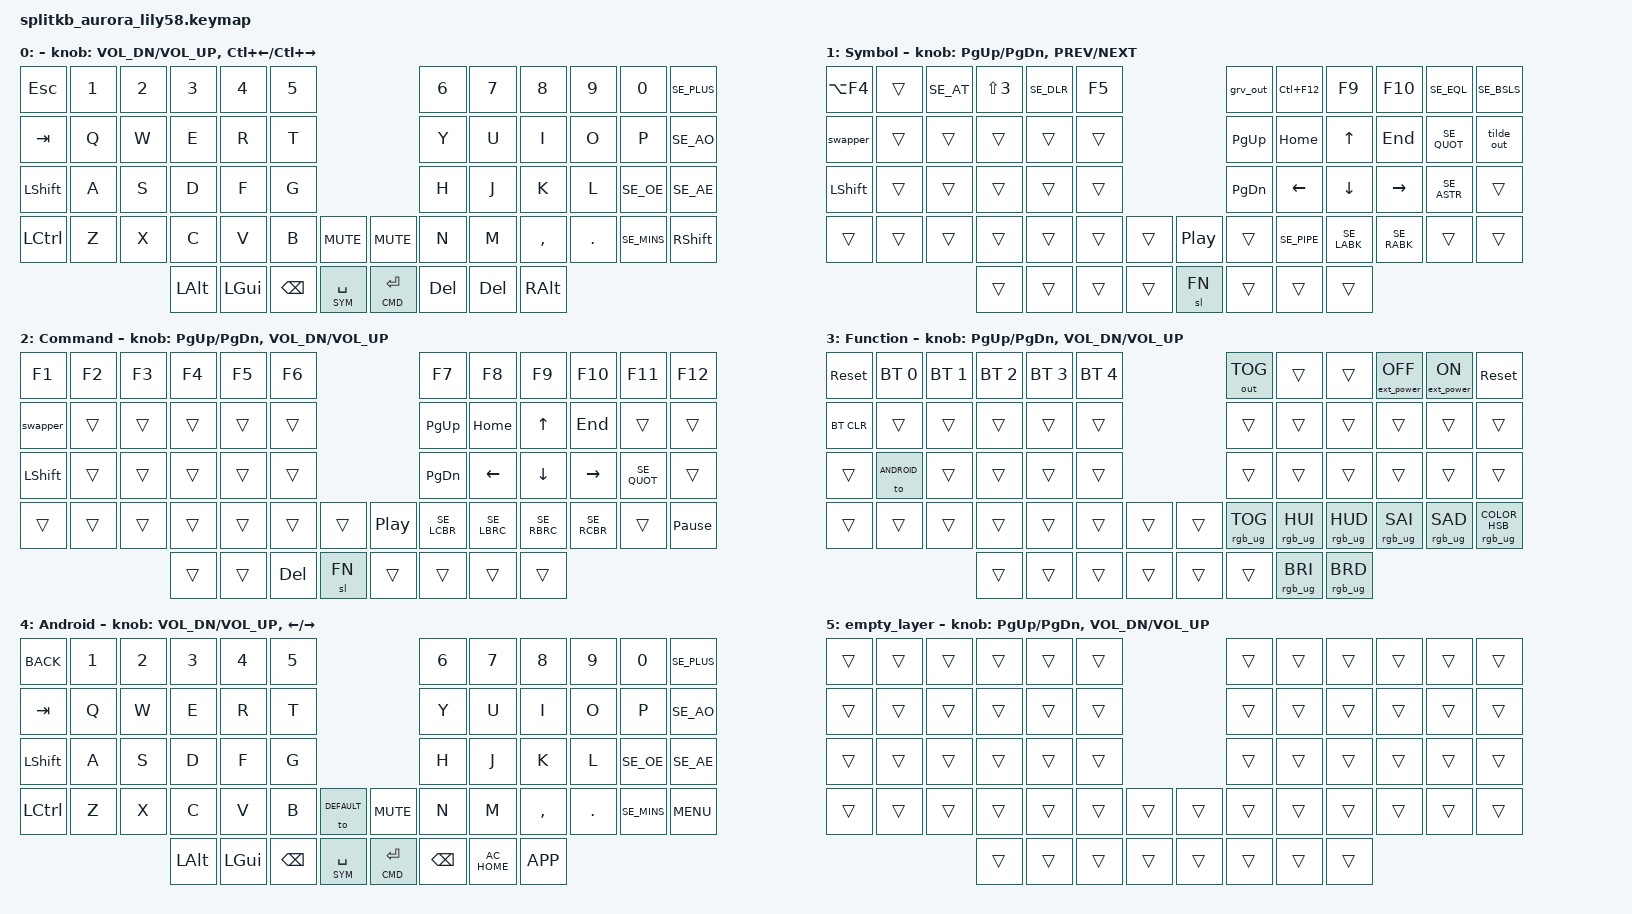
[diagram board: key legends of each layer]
/*
 * Copyright (c) 2022 The ZMK Contributors
 *
 * SPDX-License-Identifier: MIT
 */

#include <behaviors.dtsi>
#include <dt-bindings/zmk/bt.h>
#include <dt-bindings/zmk/keys.h>
#include <dt-bindings/zmk/outputs.h>
#include <dt-bindings/zmk/ext_power.h>
#include <dt-bindings/zmk/rgb.h>
#include "../swedish-keymap.h"

&left_encoder {
	/delete-property/ resolution;
	steps = <72>;
};
&right_encoder {
	/delete-property/ resolution;
	steps = <72>;
};

// Use all leds
&spi3 { led_strip: ws2812@0 { chain-length = <34>; }; };

// None/Trans
#define _____ &none
#define t____ &trans

// Layers
#define DEFAULT 0
#define SYM 1
#define CMD 2
#define FN 3
#define ANDROID 4

/ {

	sensors {
		compatible = "zmk,keymap-sensors";
		sensors = <&left_encoder &right_encoder>;
		triggers-per-rotation = <36>;
	};

	macros {
		 c_a_h: c_a_h {
			label = "Ctrl_Alt_Home";
			compatible = "zmk,behavior-macro";
			#binding-cells = <0>;
			wait-ms = <50>;
			bindings
				= <&macro_press &kp LCTRL &kp LALT>
				, <&macro_tap &kp HOME>
				, <&macro_release &kp LCTRL &kp LALT>
				, <&macro_press &kp LALT>
				, <&macro_tap &kp TAB>
				, <&macro_pause_for_release>
				, <&macro_release &kp LALT>
				;
		};
		grv_out: se_grave_output {
			label = "Grave_output";
			compatible = "zmk,behavior-macro";
			#binding-cells = <0>;
			bindings
				= <&macro_tap &kp SE_GRV>
				, <&macro_tap &kp SPACE>
				;
		};
		tilde_out: se_tilde_output {
			label = "Tilde_output";
			compatible = "zmk,behavior-macro";
			#binding-cells = <0>;
			bindings
				= <&macro_tap &kp SE_TILD>
				, <&macro_tap &kp SPACE>
				;
		};
		hat_out: se_hat_output {
			label = "Hat_output";
			compatible = "zmk,behavior-macro";
			#binding-cells = <0>;
			bindings
				= <&macro_tap &kp SE_HAT>
				, <&macro_tap &kp SPACE>
				;
		};
	};

	behaviors {
		qlt: quick_layer_tap {
			compatible = "zmk,behavior-hold-tap";
			label = "QUICK_LAYER_TAP";
			#binding-cells = <2>;
			flavor = "hold-preferred";
			tapping-term-ms = <125>;
			bindings = <&mo>, <&kp>;
		};

		// Swapper for smart alt+tab
		swapper: swapper {
			compatible = "zmk,behavior-tri-state";
			label = "SWAPPER";
			#binding-cells = <0>;
			bindings = <&kt LALT>, <&kp TAB>, <&kt LALT>;
			ignored-key-positions = <12 24>;
		};

		rot_kp: behavior_sensor_rotate_kp {
			compatible = "zmk,behavior-sensor-rotate-var";
			label = "ENC_KP";
			#sensor-binding-cells = <2>;
			bindings = <&kp>, <&kp>;
		};

		vol_encoder: vol_encoder {
			compatible = "zmk,behavior-sensor-rotate";
			label = "VOL_ENCODER";
			#sensor-binding-cells = <0>;
			bindings = <&kp C_VOL_DN>, <&kp C_VOL_UP>;
		};
	};

	keymap {
		compatible = "zmk,keymap";

		default_layer {
			label = " ";
// ------------------------------------------------------------------------------------------------------------
// |  ESC  |  1  |  2  |  3   |  4   |  5   |                   |  6   |  7    |  8    |  9   |   0   |   +   |
// |  TAB  |  Q  |  W  |  E   |  R   |  T   |                   |  Y   |  U    |  I    |  O   |   P   |   Å   |
// | SHIFT |  A  |  S  |  D   |  F   |  G   |                   |  H   |  J    |  K    |  L   |   Ö   |   Ä   |
// |  CTRL |  Z  |  X  |  C   |  V   |  B   |   MUTE |  | MUTE  |  N   |  M    |  ,    |  .   |   -   | SHIFT |
//                     | ALT  | GUI  | BSPC |  SPACE |  | ENTER | DEL  | BSPC  | RALT  |
			bindings = <
&kp ESC			&kp N1	 		&kp N2			&kp N3			&kp N4			&kp N5														&kp N6			&kp N7			&kp N8			&kp N9			&kp N0			&kp SE_PLUS
&kp TAB			&kp Q			&kp W			&kp E			&kp R			&kp T														&kp Y			&kp U			&kp I			&kp O			&kp P			&kp SE_AO
&kp LSHFT		&kp A			&kp S			&kp D			&kp F			&kp G														&kp H			&kp J			&kp K			&kp L			&kp SE_OE		&kp SE_AE
&kp LCTRL		&kp Z			&kp X			&kp C			&kp V			&kp B				&kp C_MUTE			&kp C_MUTE			&kp N			&kp M			&kp COMMA		&kp DOT			&kp SE_MINS 	&kp RSHFT
												&kp LALT		&kp LGUI		&kp BSPC			&qlt SYM SPACE		&qlt CMD RET		&kp DEL			&kp DEL			&kp RALT
			>;

			sensor-bindings = <
				&inc_dec_kp C_VOL_DN C_VOL_UP
				&inc_dec_kp LC(LEFT) LC(RIGHT)
			>;
		};

		sym_layer {
			label = "Symbol";
// ------------------------------------------------------------------------------------------------------------
// |       |     |     |      |      |      |                   |      |       |       |      |       |       |
// |   `   |  1  |  2  |  3   |  4   |  5   |                   |  6   |   7   |   8   |  9   |   0   |       |
// |   F1  |  F2 |  F3 |  F4  |  F5  |  F6  |                   |      |   <-  |   v   |  ^   |  ->   |       |
// |   F7  |  F8 |  F9 |  F10 |  F11 |  F12 |        |  |       |  +   |   -   |   =   |  [   |   ]   |   \   |
//                     |      |      |      |        |  |       |      |       |       |
			bindings = <
&kp LA(F4)		t____			&kp SE_AT		&kp LS(N3)		&kp SE_DLR		&kp F5														&grv_out		&kp LC(F12)		&kp F9			&kp F10			&kp SE_EQL		&kp SE_BSLS
&swapper		t____	 		t____			t____			t____			t____														&kp PG_UP		&kp HOME		&kp UP			&kp END			&kp SE_QUOT		&tilde_out
&kp LSHFT		t____	 		t____			t____			t____			t____														&kp PG_DN		&kp LEFT		&kp DOWN		&kp RIGHT		&kp SE_ASTR		t____
t____			t____			t____			t____			t____			t____				t____				&kp C_PLAY_PAUSE	t____			&kp SE_PIPE		&kp SE_LABK		&kp SE_RABK		t____			t____
												t____			t____			t____ 				t____				&sl FN				t____			t____	 		t____
			>;
			sensor-bindings = <
				&inc_dec_kp PG_UP PG_DN
				&inc_dec_kp C_PREV C_NEXT
			>;
		};

		cmd_layer {
			label = "Command";
// ------------------------------------------------------------------------------------------------------------
// | BTCLR | BT1 | BT2 |  BT3 |  BT4 |  BT5 |                   |      |       |       |      |       |       |
// |  F1   |  F2 |  F3 |  F4  |  F5  |  F6  |                   |  F7  |  F8   |  F9   |  F10 |  F11  |  F12  |
// |   `   |  !  |  @  |  #   |  $   |  %   |                   |  ^   |  &    |  *    |  (   |   )   |   ~   |
// |       |     |     |      |      |      |        |  |       |      |  _    |  +    |  {   |   }   |  "|"  |
//                     |      |      |      |        |  |       |      |       |       |
			bindings = <
&kp F1			&kp F2			&kp F3			&kp F4			&kp F5			&kp F6														&kp F7			&kp F8			&kp F9			&kp F10			&kp F11			&kp F12
&swapper		t____			t____			t____			t____			t____														&kp PG_UP		&kp HOME		&kp UP			&kp END			t____			t____
&kp LSHFT		t____			t____			t____			t____			t____														&kp PG_DN		&kp LEFT		&kp DOWN		&kp RIGHT		&kp SE_QUOT		t____
t____			t____			t____			t____			t____			t____				t____				&kp C_PLAY_PAUSE	&kp SE_LCBR		&kp SE_LBRC		&kp SE_RBRC		&kp SE_RCBR		t____			&kp PAUSE_BREAK
												t____			t____			&kp DEL				&sl FN				t____				t____			t____			t____
			>;

			sensor-bindings = <
				&inc_dec_kp PG_UP PG_DN
				&inc_dec_kp C_VOL_DN C_VOL_UP
			>;
		};

		fn_layer {
			label = "Function";
// ------------------------------------------------------------------------------------------------------------
// |       |     |     |      |      |      |                   |      |       |       |      |       |       |
// |   `   |  1  |  2  |  3   |  4   |  5   |                   |  6   |   7   |   8   |  9   |   0   |       |
// |   F1  |  F2 |  F3 |  F4  |  F5  |  F6  |                   |      |   <-  |   v   |  ^   |  ->   |       |
// |   F7  |  F8 |  F9 |  F10 |  F11 |  F12 |        |  |       |  +   |   -   |   =   |  [   |   ]   |   \   |
//                     |      |      |      |        |  |       |      |       |       |
			bindings = <
&sys_reset		&bt BT_SEL 0	&bt BT_SEL 1	&bt BT_SEL 2	&bt BT_SEL 3	&bt BT_SEL 4												&out OUT_TOG 	t____			t____			&ext_power EP_OFF &ext_power EP_ON &sys_reset
&bt BT_CLR		t____			t____			t____			t____			t____														t____			t____			t____			t____			t____			t____
t____			&to ANDROID		t____			t____			t____			t____														t____			t____			t____			t____			t____			t____
t____			t____			t____			t____			t____			t____				t____				t____				&rgb_ug RGB_TOG	&rgb_ug RGB_HUI &rgb_ug RGB_HUD	&rgb_ug RGB_SAI &rgb_ug RGB_SAD &rgb_ug RGB_COLOR_HSB(0, 0, 2)
												t____			t____			t____ 				t____				t____				t____			&rgb_ug RGB_BRI	&rgb_ug RGB_BRD
			>;
			sensor-bindings = <
				&inc_dec_kp PG_UP PG_DN
				&inc_dec_kp C_VOL_DN C_VOL_UP
			>;
		};
		
		android_layer {
			label = "Android";
// ------------------------------------------------------------------------------------------------------------
// |  ESC  |  1  |  2  |  3   |  4   |  5   |                   |  6   |  7    |  8    |  9   |   0   |   +   |
// |  TAB  |  Q  |  W  |  E   |  R   |  T   |                   |  Y   |  U    |  I    |  O   |   P   |   Å   |
// | SHIFT |  A  |  S  |  D   |  F   |  G   |                   |  H   |  J    |  K    |  L   |   Ö   |   Ä   |
// |  CTRL |  Z  |  X  |  C   |  V   |  B   |   "["  |  |  "]"  |  N   |  M    |  ,    |  .   |   -   | SHIFT |
//                     | ALT  | GUI  | LOWER|  SPACE |  | ENTER | RAISE| BSPC  | GUI   |
			bindings = <
&kp K_BACK		&kp N1	 		&kp N2			&kp N3			&kp N4			&kp N5														&kp N6			&kp N7			&kp N8			&kp N9			&kp N0			&kp SE_PLUS
&kp TAB			&kp Q			&kp W			&kp E			&kp R			&kp T														&kp Y			&kp U			&kp I			&kp O			&kp P			&kp SE_AO
&kp LSHFT		&kp A			&kp S			&kp D			&kp F			&kp G														&kp H			&kp J			&kp K			&kp L			&kp SE_OE		&kp SE_AE
&kp LCTRL		&kp Z			&kp X			&kp C			&kp V			&kp B				&to DEFAULT			&kp C_MUTE			&kp N			&kp M			&kp COMMA		&kp DOT			&kp SE_MINS 	&kp K_MENU
												&kp LALT		&kp LGUI		&kp BSPC			&qlt SYM SPACE		&qlt CMD RET		&kp BSPC		&kp C_AC_HOME	&kp K_APP
			>;

			sensor-bindings = <
				&inc_dec_kp C_VOL_DN C_VOL_UP
				&inc_dec_kp LEFT RIGHT
			>;
		};

		empty_layer {
// ------------------------------------------------------------------------------------------------------------
// |       |     |     |      |      |      |                   |      |       |       |      |       |       |
// |   `   |  1  |  2  |  3   |  4   |  5   |                   |  6   |   7   |   8   |  9   |   0   |       |
// |   F1  |  F2 |  F3 |  F4  |  F5  |  F6  |                   |      |   <-  |   v   |  ^   |  ->   |       |
// |   F7  |  F8 |  F9 |  F10 |  F11 |  F12 |        |  |       |  +   |   -   |   =   |  [   |   ]   |   \   |
//                     |      |      |      |        |  |       |      |       |       |
			bindings = <
t____			t____	 		t____			t____			t____			t____														t____			t____			t____	 		t____			t____			t____
t____			t____	 		t____			t____			t____			t____														t____			t____			t____	 		t____			t____			t____
t____			t____	 		t____			t____			t____			t____														t____			t____			t____	 		t____			t____			t____
t____			t____	 		t____			t____			t____			t____				t____				t____				t____			t____			t____	 		t____			t____			t____
												t____			t____			t____ 				t____				t____				t____			t____			t____
			>;
			sensor-bindings = <
				&inc_dec_kp PG_UP PG_DN
				&inc_dec_kp C_VOL_DN C_VOL_UP
			>;
		};
	};
};
